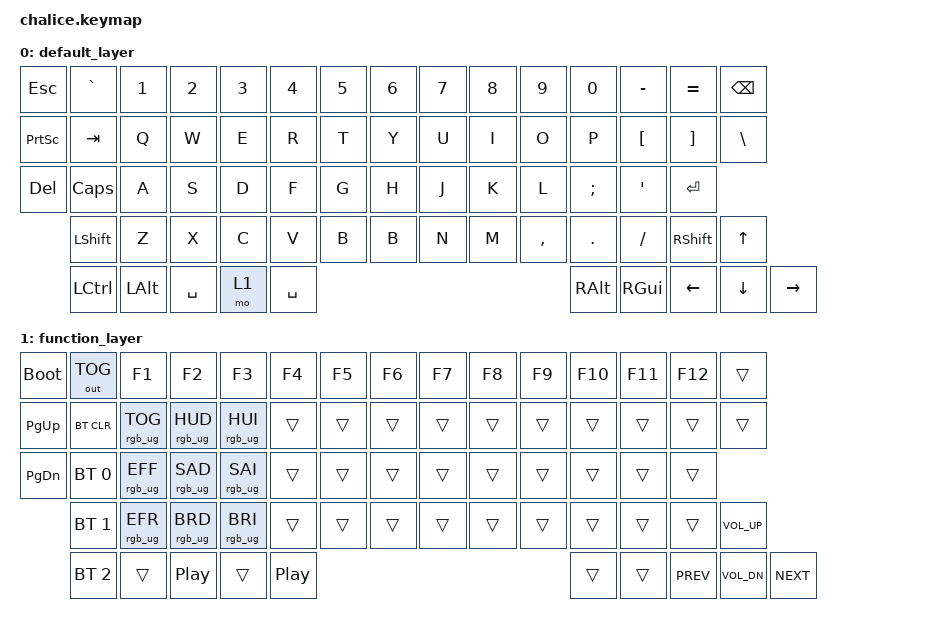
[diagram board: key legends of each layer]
/*
 * Copyright (c) 2020 The ZMK Contributors
 *
 * SPDX-License-Identifier: MIT
 */

#include <behaviors.dtsi>
#include <dt-bindings/zmk/keys.h>
#include <dt-bindings/zmk/bt.h>
#include <dt-bindings/zmk/rgb.h>
#include <dt-bindings/zmk/outputs.h>

/ {
        keymap {
                compatible = "zmk,keymap";

                default_layer {

                        bindings = <
   &kp ESC           &kp GRAVE   &kp N1       &kp N2       &kp N3       &kp N4       &kp N5       &kp N6       &kp N7       &kp N8       &kp N9       &kp N0       &kp MINUS    &kp EQUAL          &kp BSPC
   &kp PRINTSCREEN   &kp TAB     &kp Q        &kp W        &kp E        &kp R        &kp T        &kp Y        &kp U        &kp I        &kp O        &kp P        &kp LBKT     &kp RBKT           &kp BSLH
   &kp DEL           &kp CAPS    &kp A        &kp S        &kp D        &kp F        &kp G        &kp H        &kp J        &kp K        &kp L        &kp SEMI     &kp SQT      &kp ENTER                    
                     &kp LSHFT   &kp Z        &kp X        &kp C        &kp V        &kp B        &kp B        &kp N        &kp M        &kp COMMA    &kp DOT      &kp SLASH    &kp RSHFT          &kp UP
                     &kp LCTRL                &kp LALT                  &kp SPACE    &mo 1                     &kp SPACE                 &kp RALT                  &kp RIGHT_GUI     &kp LEFT      &kp DOWN     &kp RIGHT 
                                >;
                        };

                function_layer {

                        bindings = <
   &bootloader     &out OUT_TOG &kp F1           &kp F2          &kp F3          &kp F4       &kp F5       &kp F6       &kp F7       &kp F8       &kp F9       &kp F10      &kp F11      &kp F12    &trans
   &kp PG_UP       &bt BT_CLR   &rgb_ug RGB_TOG  &rgb_ug RGB_HUD &rgb_ug RGB_HUI &trans       &trans       &trans       &trans       &trans       &trans       &trans       &trans       &trans     &trans
   &kp PG_DN       &bt BT_SEL 0 &rgb_ug RGB_EFF  &rgb_ug RGB_SAD &rgb_ug RGB_SAI &trans       &trans       &trans       &trans       &trans       &trans       &trans       &trans       &trans 
                   &bt BT_SEL 1 &rgb_ug RGB_EFR  &rgb_ug RGB_BRD &rgb_ug RGB_BRI &trans       &trans       &trans       &trans       &trans       &trans       &trans       &trans       &trans     &kp C_VOL_UP
                   &bt BT_SEL 2                  &trans                          &kp C_PLAY_PAUSE             &trans                    &kp C_PLAY_PAUSE     &trans                    &trans       &kp C_PREV &kp C_VOL_DN &kp C_NEXT 
                                >;
                        };
        };
};
